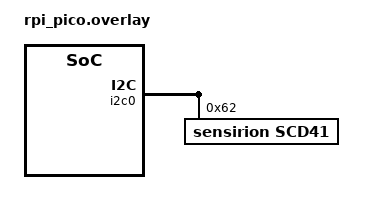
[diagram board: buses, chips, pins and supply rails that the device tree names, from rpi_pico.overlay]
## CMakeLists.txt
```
cmake_minimum_required(VERSION 3.20.0)
find_package(Zephyr REQUIRED HINTS $ENV{ZEPHYR_BASE})
project(env-sensors)
target_sources(app PRIVATE src/main.c)
```

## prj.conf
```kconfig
CONFIG_I2C=y
CONFIG_SENSOR=y
CONFIG_SCD4X=y
```

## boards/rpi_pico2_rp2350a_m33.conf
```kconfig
# Pico 2 (rpi_pico2/rp2350a/m33): same as rpi_pico2_rp2350a_m33_w.conf.
# Kconfig fragments can't include each other - keep the two in sync.
# USB console
CONFIG_USB_DEVICE_STACK_NEXT=y
CONFIG_CDC_ACM_SERIAL_INITIALIZE_AT_BOOT=y
CONFIG_STDOUT_CONSOLE=y
CONFIG_SERIAL=y
CONFIG_UART_LINE_CTRL=y
CONFIG_USBD_CDC_ACM_CLASS=y
```

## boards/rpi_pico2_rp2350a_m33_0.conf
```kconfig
# Pico 2 (rpi_pico2/rp2350a/m33_0): same as rpi_pico2_rp2350a_m33_0_w.conf.
# Kconfig fragments can't include each other - keep the two in sync.
# USB console
CONFIG_USB_DEVICE_STACK_NEXT=y
CONFIG_CDC_ACM_SERIAL_INITIALIZE_AT_BOOT=y
CONFIG_STDOUT_CONSOLE=y
CONFIG_SERIAL=y
CONFIG_UART_LINE_CTRL=y
CONFIG_USBD_CDC_ACM_CLASS=y
```

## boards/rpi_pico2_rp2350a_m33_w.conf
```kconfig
# USB console
CONFIG_USB_DEVICE_STACK_NEXT=y
CONFIG_CDC_ACM_SERIAL_INITIALIZE_AT_BOOT=y
CONFIG_STDOUT_CONSOLE=y
CONFIG_SERIAL=y
CONFIG_UART_LINE_CTRL=y
CONFIG_USBD_CDC_ACM_CLASS=y
```

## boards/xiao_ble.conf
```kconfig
# USB console (the XIAO BLE board already defines the CDC node as console)
CONFIG_USB_DEVICE_STACK_NEXT=y
CONFIG_CDC_ACM_SERIAL_INITIALIZE_AT_BOOT=y
CONFIG_STDOUT_CONSOLE=y
CONFIG_SERIAL=y
CONFIG_UART_LINE_CTRL=y
CONFIG_USBD_CDC_ACM_CLASS=y
```

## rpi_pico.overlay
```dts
/* rpi_pico2_rp2350a_m33 -b rpi_pico2/rp2350a/m33 */
/ {
    aliases {
        env-sensor = &scd41;
    };
};

&pinctrl {
    i2c0_custom: i2c0_custom {
        group1 {
            pinmux = <I2C0_SDA_P16>;
            input-enable;
            input-schmitt-enable;
            bias-pull-up;
        };
        group2 {
            pinmux = <I2C0_SCL_P17>;
            bias-pull-up;
        };
    };
};

&i2c0 {
    status = "okay";
    pinctrl-0 = <&i2c0_custom>;
    pinctrl-names = "default";
    
    scd41: scd41@62 {
        compatible = "sensirion,scd41";
        reg = <0x62>;
        mode = <0>; // Normal periodic measurement. Default interval of 5sec
        status="okay";
    };
};
```

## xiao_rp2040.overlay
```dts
/ {
    aliases {
        env-sensor = &scd41;
    };
};


&i2c1 {
    status = "okay";

    scd41: scd41@98 {
        compatible = "sensirion,scd41";
        reg = <0x62>;
        mode = <0>; // Normal periodic measurement. Default interval of 5sec
        status="okay";
    };
};
```

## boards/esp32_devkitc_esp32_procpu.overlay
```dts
/*
 * Classic ESP32 boards via the in-tree esp32_devkitc/esp32/procpu target,
 * e.g. the LilyGO T5 V2.3.1 (ESP32-D0WDQ6-V3, 4 MB flash, no PSRAM):
 * console on UART0 (the board's USB-serial chip, CH9102 on the T5, 115200),
 * SCD41 and SHT40 on I2C0 = SDA GPIO21, SCL GPIO22 (already configured by
 * the board, 100 kHz - also the SCD41's maximum).
 */

/ {
    aliases {
        env-sensor = &scd41;
    };
};

&i2c0 {
    scd41: scd41@62 {
		compatible = "sensirion,scd41";
		reg = <0x62>;
		mode = <0>; // Normal 5s period
	};
};
```

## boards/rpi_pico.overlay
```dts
/* rpi_pico2_rp2350a_m33_0 -b rpi_pico2/rp2350a/m33_0 */
/ {
    aliases {
        env-sensor = &scd41;
    };

    /* Console on the USB CDC device below. The Pico's board file points
     * the console at UART0 (GPIO0/GPIO1); without this, the USB serial
     * port enumerates but printk output goes to the UART pins.
     */
    chosen {
        zephyr,console = &usb_cdc;
    };
};

&pinctrl {
    i2c0_custom: i2c0_custom {
        /* SDA and SCL both need the pad input enabled: an I2C controller
         * reads SCL too (clock stretching - the SCD41 uses it - and bus
         * busy detection). With SCL in a group without input-enable, the
         * RP2xxx pinctrl driver switches its input buffer off and every
         * transfer fails ("Sensor not ready"). Same form as the board's
         * own i2c0_default, plus the pad pull-ups.
         */
        group1 {
            pinmux = <I2C0_SDA_P16>, <I2C0_SCL_P17>;
            input-enable;
            input-schmitt-enable;
            bias-pull-up;
        };
    };
};

&i2c0 {
    status = "okay";
    pinctrl-0 = <&i2c0_custom>;
    pinctrl-names = "default";

    scd41: scd41@62 {
        compatible = "sensirion,scd41";
        reg = <0x62>;
        mode = <0>; // Normal periodic measurement. Default interval of 5sec
        status="okay";
    };
};

&zephyr_udc0 {
    usb_cdc: usb_cdc_0 {
        compatible = "zephyr,cdc-acm-uart";
    };
};
```

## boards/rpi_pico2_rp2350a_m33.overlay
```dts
/* Pico 2 (rpi_pico2/rp2350a/m33): same wiring and console as the Pico 2 W.
 * An #include rather than a symlink, so it also survives a checkout on
 * Windows.
 */
#include "rpi_pico2_rp2350a_m33_w.overlay"
```

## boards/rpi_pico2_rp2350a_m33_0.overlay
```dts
/* Pico 2 (rpi_pico2/rp2350a/m33_0): same wiring and console as the Pico 2 W.
 * An #include rather than a symlink, so it also survives a checkout on
 * Windows.
 */
#include "rpi_pico2_rp2350a_m33_0_w.overlay"
```

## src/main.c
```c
#include <zephyr/kernel.h>
#include <zephyr/device.h>
#include <zephyr/drivers/sensor.h>
#include <zephyr/drivers/uart.h>

const struct device *const sensor = DEVICE_DT_GET(DT_ALIAS(env_sensor));

int sensor_print_helper(const struct device *const sensor, int channel, const char *name) {
    struct sensor_value value;
    int ret = sensor_channel_get(sensor, channel, &value);
    if (ret == 0) {
        printk("%12s : %d.%06d\n", name, value.val1, value.val2);
    } else {
        printk("%12s : N/A\n", name);
    }
    return ret;
}

/* With a USB CDC console (RP2040/Pico), output printed before a terminal
 * opens the port is lost - wait until the host raises DTR. Consoles without
 * line control (a real UART, e.g. ESP32 via its USB-serial bridge) skip it.
 */
static void wait_for_terminal(void) {
#if defined(CONFIG_UART_LINE_CTRL)
    const struct device *const console = DEVICE_DT_GET(DT_CHOSEN(zephyr_console));
    uint32_t dtr = 0;

    while (uart_line_ctrl_get(console, UART_LINE_CTRL_DTR, &dtr) == 0 && !dtr) {
        k_msleep(100);
    }
#endif
}

int main(void) {
    wait_for_terminal();
    printk("Starting\n");

    /* Keep saying so instead of returning, so the console always shows
     * what's wrong (e.g. sensor not wired to these pins).
     */
    while (!device_is_ready(sensor)) {
        printk("Sensor not ready!\n");
        k_sleep(K_SECONDS(5));
    }

    while (1) {
        printk("Loop\n");
        int ret= sensor_sample_fetch(sensor);
        if (ret != 0) {
            printk("sensor_sample_fetch returned %d\n", ret);
            continue;
        }

        printk("---\n");
        sensor_print_helper(sensor, SENSOR_CHAN_AMBIENT_TEMP, "Temperature");
        sensor_print_helper(sensor, SENSOR_CHAN_PRESS,        "Pressure");
        sensor_print_helper(sensor, SENSOR_CHAN_HUMIDITY,     "Humidity");
        sensor_print_helper(sensor, SENSOR_CHAN_CO2, "CO2");

        k_sleep(K_SECONDS(2));
    }
    return 0;
}
```
